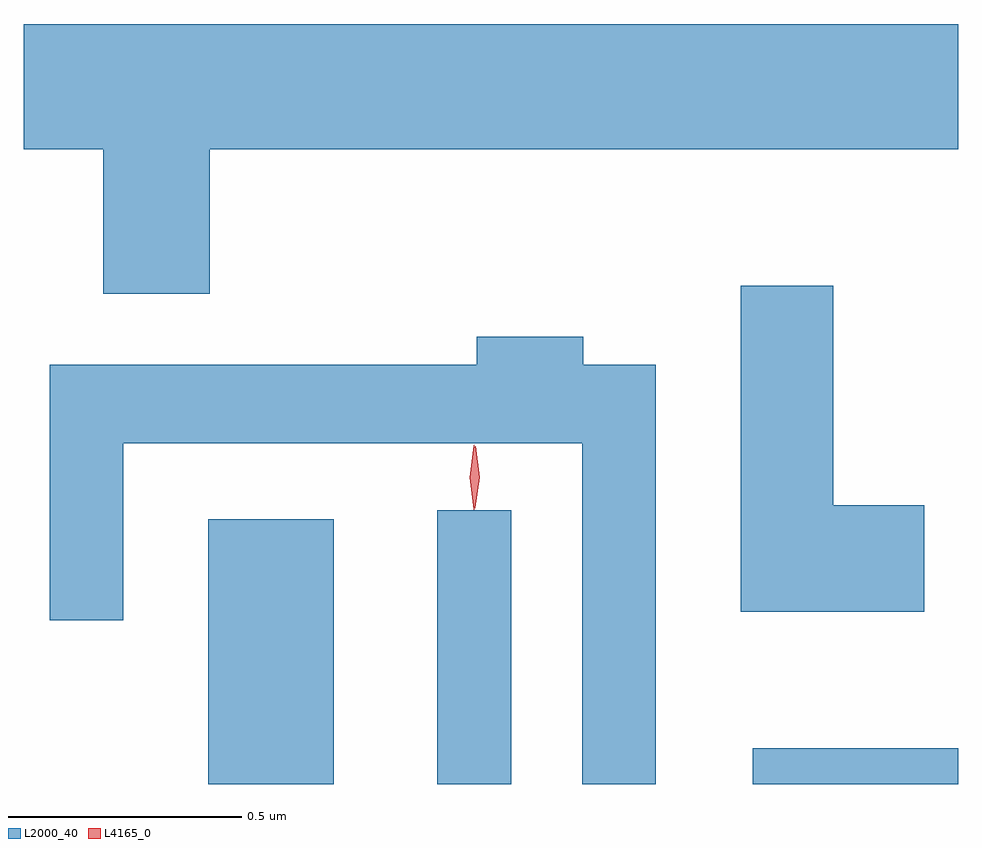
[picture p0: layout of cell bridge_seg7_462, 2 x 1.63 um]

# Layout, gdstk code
import gdstk
lib = gdstk.Library(unit=1e-6, precision=1e-09)
def R(c, l, rs):  # rectangles x0, y0, x1, y1
    for r in rs: c.add(gdstk.rectangle(r[:2], r[2:], *l))
def P(c, l, *ps):  # polygons
    for p in ps: c.add(gdstk.Polygon(p, *l))
L2000_40 = (2000, 40)
L4165_0 = (4165, 0)

bridge_seg7_462 = lib.new_cell('bridge_seg7_462')
R(bridge_seg7_462, L2000_40, [(1166.906,1692.977,1167.174,1693.544), (1167.396,1692.977,1167.554,1693.563), (1168.071,1692.977,1168.511,1693.054)])
P(bridge_seg7_462, L2000_40, [(1166.909,1694.336),(1168.511,1694.336),(1168.511,1694.604),(1166.511,1694.604),(1166.511,1694.336),(1166.681,1694.336),(1166.681,1694.026),(1166.909,1694.026)],
  [(1168.439,1693.574),(1168.244,1693.574),(1168.244,1694.044),(1168.046,1694.044),(1168.046,1693.346),(1168.439,1693.346)],
  [(1167.864,1693.874),(1167.709,1693.874),(1167.709,1693.934),(1167.481,1693.934),(1167.481,1693.874),(1166.566,1693.874),(1166.566,1693.328),(1166.724,1693.328),(1166.724,1693.706),(1167.706,1693.706),(1167.706,1692.977),(1167.864,1692.977)])
P(bridge_seg7_462, L4165_0, [(1167.474,1693.564),(1167.465,1693.634),(1167.474,1693.702),(1167.475,1693.703),(1167.475,1693.702),(1167.485,1693.634),(1167.475,1693.564),(1167.475,1693.564)],
  [(1167.477,1693.567),(1167.476,1693.568),(1167.467,1693.634),(1167.477,1693.7),(1167.477,1693.7),(1167.478,1693.7),(1167.487,1693.634),(1167.477,1693.568)])

lib.write_gds('bridge_seg7_462.gds')
